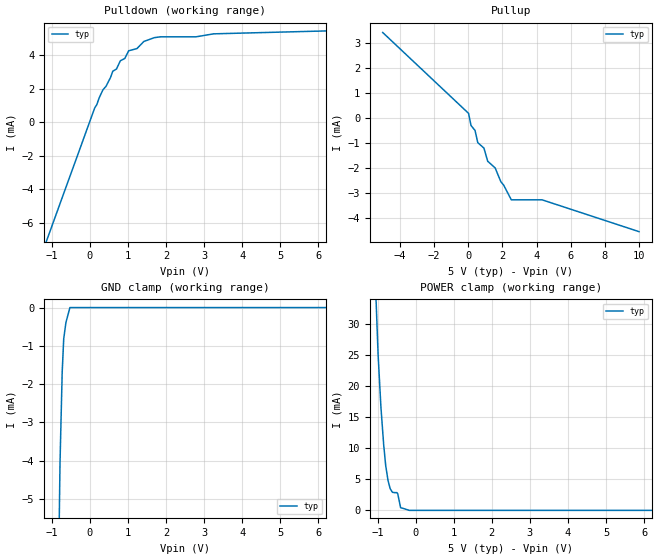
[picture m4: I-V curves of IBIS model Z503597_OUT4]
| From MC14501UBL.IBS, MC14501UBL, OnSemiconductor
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| (C) COPYRIGHT 1993-2000
| MENTOR GRAPHICS CORPORATION
| ICX STANDARD LIBRARY, ICX PROJECT MODELING,
| ICX CUSTOM MODELING, ICX VENDOR MODEL
| ALL RIGHTS RESERVED.
| THE FOLLOWING ARE TRADEMARKS OR SERVICE MARKS OF
| MENTOR GRAPHICS CORPORATION:ICX (R), ICX STANDARD
| LIBRARY(R), ICX PROJECT MODELING(R), ICX CUSTOM
| MODELING(R), qualityIBIS(TM), MODELVIEWER(TM),
| AND MODELEDITOR(TM)
| ALL COPIES OF SOFTWARE, INCLUDING BUT NOT LIMITED TO
| ANY MODIFICATIONS, ENHANCEMENTS OR DERIVATIVE WORKS,
| MUST CONTAIN ALL MENTOR GRAPHICS CORPORATION'S
| NOTICES AND LEGENDS, INCLUDING THOSE EMBEDDED IN
| SOFTWARE AND THOSE AFFIXED TO SOFTWARE MEDIUM
| AND CONTAINER, AS RECEIVED FROM MENTOR GRAPHICS
| CORPORATION.
| Model Application Version 1.89 2/18/99.
[Model] Z503597_OUT4
Model_type Output
Vref=0.000V
Rref=500.0Mohms
Cref=50.00pF
Vmeas=2.500V
C_comp 8.000pF NA NA
| variable typ   min   max
[Voltage Range] 5.000V NA NA
[POWER Clamp Reference] 5.000V NA NA
[Pullup Reference] 5.000V NA NA
[Pulldown Reference] 0.000V NA NA
[GND Clamp Reference] 0.000V NA NA
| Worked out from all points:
|   slope of the pulldown table from 0 to 0.75 V, typ, clamps not added: 223 ohm
|   slope of the pullup table from 0 to 0.75 V, typ, clamps not added: 578 ohm
|   GND clamp passes 1 mA (typ) near -0.69 V on its own axis
|   POWER clamp passes 1 mA (typ) near -0.41 V on its own axis
[GND Clamp]
-5V       -279.7mA   NA         NA
-1.128V   -30.01mA   NA         NA
-780.6mV  -4.072mA   NA         NA
-723.3mV  -1.694mA   NA         NA
-683.1mV  -813.6uA   NA         NA
-624.9mV  -389.8uA   NA         NA
-520.7mV  0A         NA         NA
10V       0A         NA         NA
[Pulldown]
-5V       -31.26mA   NA         NA
130.1mV   843.9uA    NA         NA
605.5mV   3.036mA    NA         NA
703mV     3.165mA    NA         NA
802.1mV   3.654mA    NA         NA
920.1mV   3.793mA    NA         NA
1.022V    4.252mA    NA         NA
1.24V     4.383mA    NA         NA
1.421V    4.806mA    NA         NA
1.86V     5.082mA    NA         NA
3.252V    5.26mA     NA         NA
10V       5.657mA    NA         NA
[Pullup]
-5V       3.417mA    NA         NA
24mV      188.5uA    NA         NA
166mV     -295.4uA   NA         NA
402mV     -494uA     NA         NA
563mV     -981.7uA   NA         NA
923mV     -1.199mA   NA         NA
1.143V    -1.724mA   NA         NA
1.58V     -1.991mA   NA         NA
1.914V    -2.543mA   NA         NA
2.526V    -3.266mA   NA         NA
4.331V    -3.266mA   NA         NA
10V       -4.536mA   NA         NA
[POWER Clamp]
-5V       876.9mA    NA         NA
-1.156V   53.19mA    NA         NA
-986mV    25.11mA    NA         NA
-912mV    16.67mA    NA         NA
-840mV    10.62mA    NA         NA
-786mV    7.196mA    NA         NA
-725mV    4.811mA    NA         NA
-669mV    3.491mA    NA         NA
-469mV    2.64mA     NA         NA
-395mV    433.7uA    NA         NA
-166mV    0A         NA         NA
10V       0A         NA         NA
[Ramp]
| variable typ min max
dV/dt_r 982.0m/28.17n NA NA
dV/dt_f 982.0m/52.91n NA NA
R_load = 500.0Ohms
